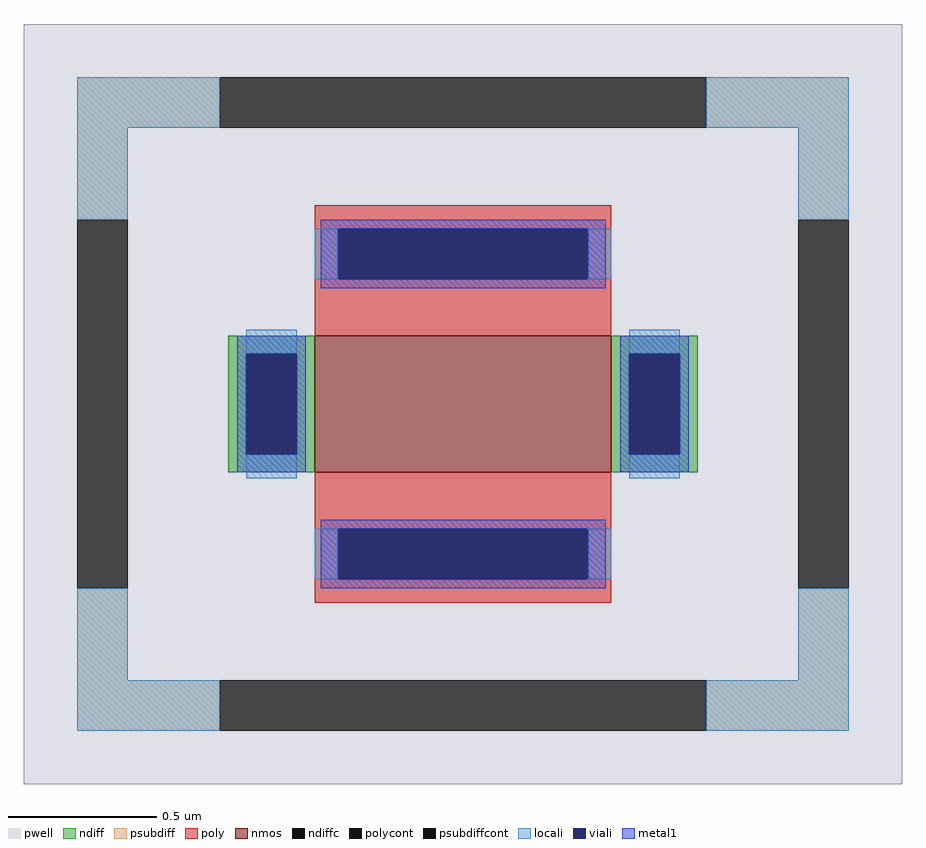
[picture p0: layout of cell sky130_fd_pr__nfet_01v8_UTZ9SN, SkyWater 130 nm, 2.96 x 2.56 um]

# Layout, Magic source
magic
tech sky130A
magscale 1 2
<< pwell >>
rect -296 -256 296 256
<< nmos >>
rect -100 -46 100 46
<< ndiff >>
rect -158 34 -100 46
rect -158 -34 -146 34
rect -112 -34 -100 34
rect -158 -46 -100 -34
rect 100 34 158 46
rect 100 -34 112 34
rect 146 -34 158 34
rect 100 -46 158 -34
<< ndiffc >>
rect -146 -34 -112 34
rect 112 -34 146 34
<< psubdiff >>
rect -260 186 -164 220
rect 164 186 260 220
rect -260 124 -226 186
rect 226 124 260 186
rect -260 -186 -226 -124
rect 226 -186 260 -124
rect -260 -220 -164 -186
rect 164 -220 260 -186
<< psubdiffcont >>
rect -164 186 164 220
rect -260 -124 -226 124
rect 226 -124 260 124
rect -164 -220 164 -186
<< poly >>
rect -100 118 100 134
rect -100 84 -84 118
rect 84 84 100 118
rect -100 46 100 84
rect -100 -84 100 -46
rect -100 -118 -84 -84
rect 84 -118 100 -84
rect -100 -134 100 -118
<< polycont >>
rect -84 84 84 118
rect -84 -118 84 -84
<< locali >>
rect -260 186 -164 220
rect 164 186 260 220
rect -260 124 -226 186
rect 226 124 260 186
rect -100 84 -84 118
rect 84 84 100 118
rect -146 34 -112 50
rect -146 -50 -112 -34
rect 112 34 146 50
rect 112 -50 146 -34
rect -100 -118 -84 -84
rect 84 -118 100 -84
rect -260 -186 -226 -124
rect 226 -186 260 -124
rect -260 -220 -164 -186
rect 164 -220 260 -186
<< viali >>
rect -84 84 84 118
rect -146 -34 -112 34
rect 112 -34 146 34
rect -84 -118 84 -84
<< metal1 >>
rect -96 118 96 124
rect -96 84 -84 118
rect 84 84 96 118
rect -96 78 96 84
rect -152 34 -106 46
rect -152 -34 -146 34
rect -112 -34 -106 34
rect -152 -46 -106 -34
rect 106 34 152 46
rect 106 -34 112 34
rect 146 -34 152 34
rect 106 -46 152 -34
rect -96 -84 96 -78
rect -96 -118 -84 -84
rect 84 -118 96 -84
rect -96 -124 96 -118
<< properties >>
string FIXED_BBOX -243 -203 243 203
string gencell sky130_fd_pr__nfet_01v8
string library sky130
string parameters w 0.463 l 1.000 m 1 nf 1 diffcov 100 polycov 100 guard 1 glc 1 grc 1 gtc 1 gbc 1 tbcov 100 rlcov 100 topc 1 botc 1 poverlap 0 doverlap 1 lmin 0.15 wmin 0.42 compatible {sky130_fd_pr__nfet_01v8 sky130_fd_pr__nfet_01v8_lvt  sky130_fd_bs_flash__special_sonosfet_star  sky130_fd_pr__nfet_g5v0d10v5 sky130_fd_pr__nfet_05v0_nvt  sky130_fd_pr__nfet_03v3_nvt} full_metal 1 viasrc 100 viadrn 100 viagate 100 viagb 0 viagr 0 viagl 0 viagt 0
<< end >>
